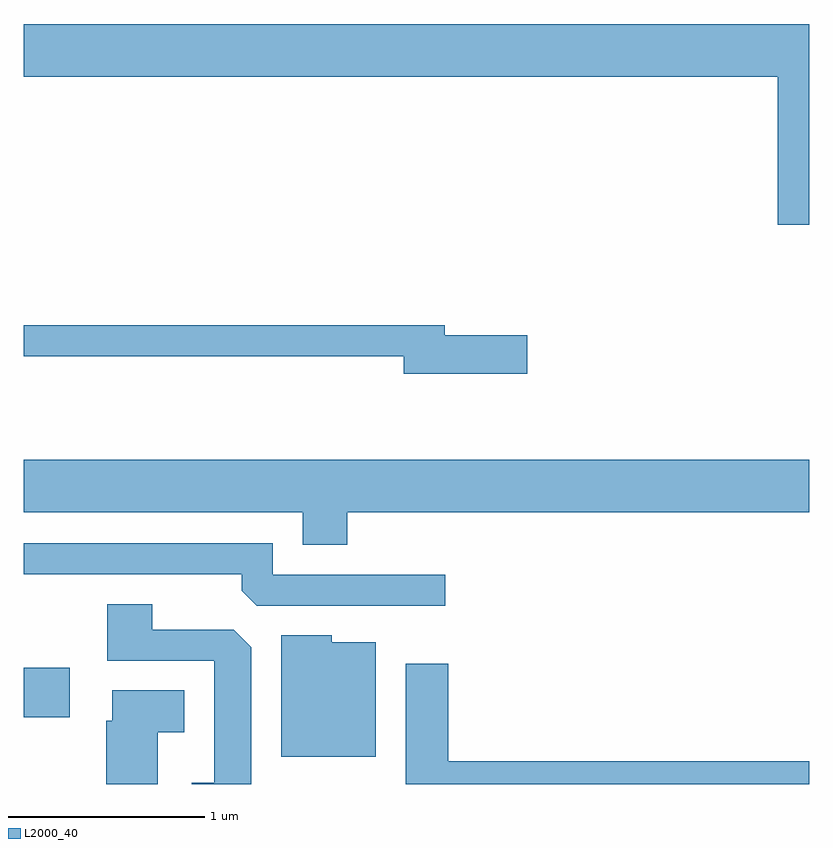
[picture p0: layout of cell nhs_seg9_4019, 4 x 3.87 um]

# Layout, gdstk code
import gdstk
lib = gdstk.Library(unit=1e-6, precision=1e-09)
def R(c, l, rs):  # rectangles x0, y0, x1, y1
    for r in rs: c.add(gdstk.rectangle(r[:2], r[2:], *l))
def P(c, l, *ps):  # polygons
    for p in ps: c.add(gdstk.Polygon(p, *l))
L2000_40 = (2000, 40)

nhs_seg9_4019 = lib.new_cell('nhs_seg9_4019')
R(nhs_seg9_4019, L2000_40, [(303.611,1990.771,303.844,1991.024)])
P(nhs_seg9_4019, L2000_40, [(307.611,1994.304),(303.611,1994.304),(303.611,1994.036),(307.451,1994.036),(307.451,1993.281),(307.611,1993.281)],
  [(306.174,1992.719),(305.754,1992.719),(305.754,1992.769),(303.611,1992.769),(303.611,1992.611),(305.546,1992.611),(305.546,1992.521),(306.174,1992.521)],
  [(305.259,1991.816),(307.611,1991.816),(307.611,1992.084),(303.611,1992.084),(303.611,1991.816),(305.031,1991.816),(305.031,1991.651),(305.259,1991.651)],
  [(305.758,1991.499),(304.879,1991.499),(304.879,1991.659),(303.611,1991.659),(303.611,1991.501),(304.721,1991.501),(304.721,1991.417),(304.797,1991.341),(305.758,1991.341)],
  [(304.769,1991.129),(304.679,1991.219),(304.264,1991.219),(304.264,1991.349),(304.036,1991.349),(304.036,1991.061),(304.581,1991.061),(304.581,1990.439),(304.466,1990.439),(304.466,1990.432),(304.769,1990.432)],
  [(305.404,1991.154),(305.179,1991.154),(305.179,1991.189),(304.921,1991.189),(304.921,1990.571),(305.404,1990.571)],
  [(307.611,1990.549),(305.774,1990.549),(305.774,1991.044),(305.556,1991.044),(305.556,1990.432),(307.611,1990.432)],
  [(304.294,1990.696),(304.429,1990.696),(304.429,1990.909),(304.061,1990.909),(304.061,1990.754),(304.031,1990.754),(304.031,1990.432),(304.294,1990.432)])

lib.write_gds('nhs_seg9_4019.gds')
